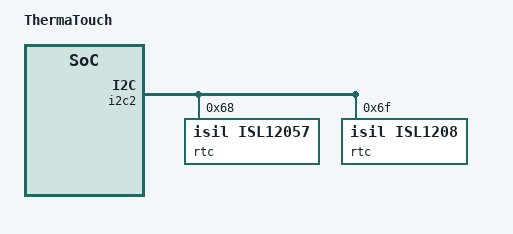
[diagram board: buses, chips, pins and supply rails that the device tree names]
// SPDX-License-Identifier: (GPL-2.0+ OR MIT)
/*
 * Copyright 2018 NXP
 * Copyright 2019-2020 Variscite Ltd.
 */

#include "fsl-imx8mm-var-som.dts"

/ {
	model = "ThermaTouch";
};

&usbotg1 {
	/delete-property/ extcon;
};

&i2c2 {
	/* ISL12057 RTC module */
	rtc@0x68 {
		compatible = "isil,isl12057";
		reg = <0x68>;
	};

	/* ISL12058 RTC module */
	rtc@0x6f {
		compatible = "isil,isl1208";
		reg = <0x6f>;
	};
};
